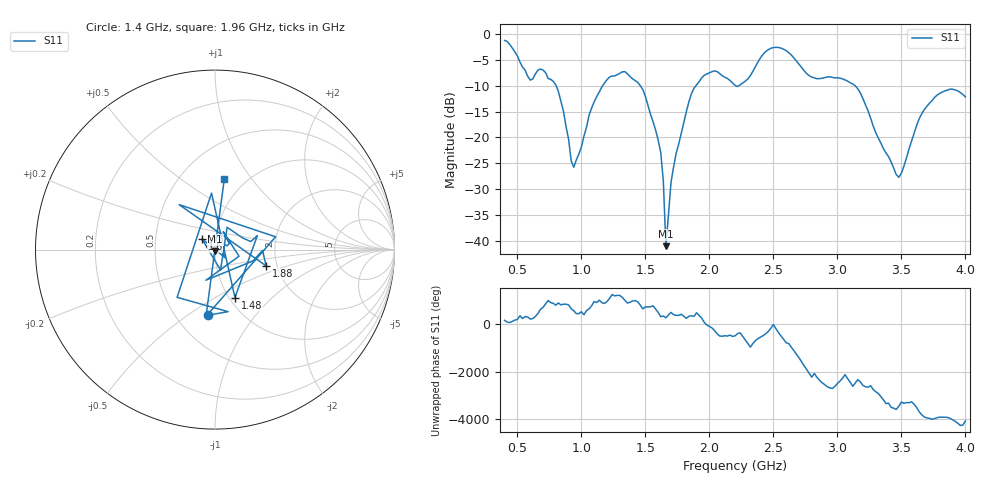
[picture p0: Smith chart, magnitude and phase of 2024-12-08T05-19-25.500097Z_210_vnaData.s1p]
!Created with skrf (http://scikit-rf.org).
# Hz S RI R 50.0
!freq ReS11 ImS11
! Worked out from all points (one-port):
!   181 points, 400 MHz to 4 GHz, reference 50 ohm
!   lowest |S11| = -40.9 dB at 1.66 GHz (marker M1), VSWR 1.02, Z = 50.1 - j0.896 ohm
!   |S11| at or under -10 dB: 802.1 MHz to 1.167 GHz (364.6 MHz wide, 37 % of centre); 1.459 GHz to 1.896 GHz (437 MHz wide, 26 % of centre); 3.137 GHz to end of sweep (the widest 3 of 4)
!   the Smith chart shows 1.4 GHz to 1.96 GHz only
!   S11 on the Smith chart (normalised r, x): 1.4 GHz: 0.72, -0.60; 1.48 GHz: 1.06, -0.62; 1.6 GHz: 0.86, +0.10; 1.88 GHz: 1.75, -0.35; 1.96 GHz: 0.80, +0.75
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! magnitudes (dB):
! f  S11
! 400 MHz  -1.3
! 600 MHz  -8.9
! 680 MHz  -6.8
! 780 MHz  -9.2
! 860 MHz  -15.0
! 940 MHz  -25.7
! 1.1 GHz  -13.1
! 1.3 GHz  -7.6
! 1.4 GHz  -8.7
! 1.48 GHz  -10.8
! 1.6 GHz  -20.5
! 1.64 GHz  -28.4
! 1.66 GHz  -40.9
! 1.7 GHz  -28.6
! 1.76 GHz  -21.3
! 1.88 GHz  -10.5
! 1.96 GHz  -8.0
! 2.2 GHz  -10.0
! 2.48 GHz  -2.8
! 2.66 GHz  -4.7
! 2.8 GHz  -8.4
! 3.1 GHz  -9.5
! 3.18 GHz  -11.5
! 3.46 GHz  -27.2
! 3.56 GHz  -22.2
! 3.64 GHz  -16.4
! 3.76 GHz  -12.3
! 4 GHz  -12.2
